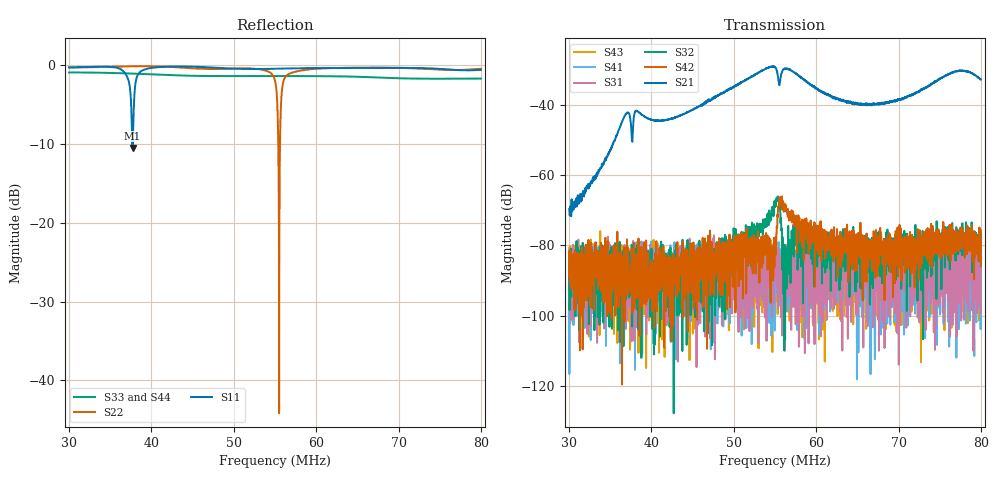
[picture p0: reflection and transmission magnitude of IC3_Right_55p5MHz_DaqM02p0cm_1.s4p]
#  HZ  S  DB  R  50.00
! Rohde & Schwarz Vector Network Analyzer
! Rohde-Schwarz,ZNB8-4Port,1311601044102961,2.82
! Created: UTC 2/13/2019, 12:02:16 PM
! freq[Hz]  db:S11  ang:S11  db:S12  ang:S12  db:S13  ang:S13  db:S14  ang:S14
!  db:S21  ang:S21  db:S22  ang:S22  db:S23  ang:S23  db:S24  ang:S24
!  db:S31  ang:S31  db:S32  ang:S32  db:S33  ang:S33  db:S34  ang:S34
!  db:S41  ang:S41  db:S42  ang:S42  db:S43  ang:S43  db:S44  ang:S44
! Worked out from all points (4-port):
!   2001 points, 30 MHz to 80 MHz, reference 50 ohm
!   strongest paths, dB at 30 MHz, 42.5 MHz, 55 MHz, 67.5 MHz, 80 MHz:
!     S21: -69.7, -43.9, -29.3, -39.9, -32.8
!     S42: -88.8, -88.0, -83.0, -86.2, -85.9
!     S32: -89.6, -97.3, -68.3, -85.8, -85.9
!     S31: -92.3, -94.4, -86.9, -101.0, -99.1
!     S41: -84.9, -87.9, -96.2, -87.2, -84.7
!     S43: -80.7, -83.9, -87.1, -94.0, -82.6
!   lowest |S11| = -10.5 dB at 37.7 MHz (marker M1), VSWR 1.85, Z = 87.5 - j17.5 ohm
!   |S11| at or under -10 dB: 37.67245 MHz to 37.73363 MHz (61.18 kHz wide, 0.162 % of centre)
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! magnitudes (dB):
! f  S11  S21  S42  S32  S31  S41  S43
! 30 MHz  -0.3  -69.7  -88.8  -89.6  -92.3  -84.9  -80.7
! 37.7 MHz  -10.5  -49.6  -99.2  -90.3  -91.7  -91.3  -90.8
! 51.17 MHz  -0.5  -33.3  -83.6  -80.3  -84.7  -86.7  -85.8
! 54.8 MHz  -0.5  -29.2  -88.8  -70.3  -81.3  -85.1  -92.9
! 55.73 MHz  -0.5  -31.7  -66.2  -72.2  -100.5  -81.1  -92.7
! 61.17 MHz  -0.4  -37.1  -80.8  -80.0  -84.3  -89.8  -84.3
! 80 MHz  -0.6  -32.8  -85.9  -85.9  -99.1  -84.7  -82.6
